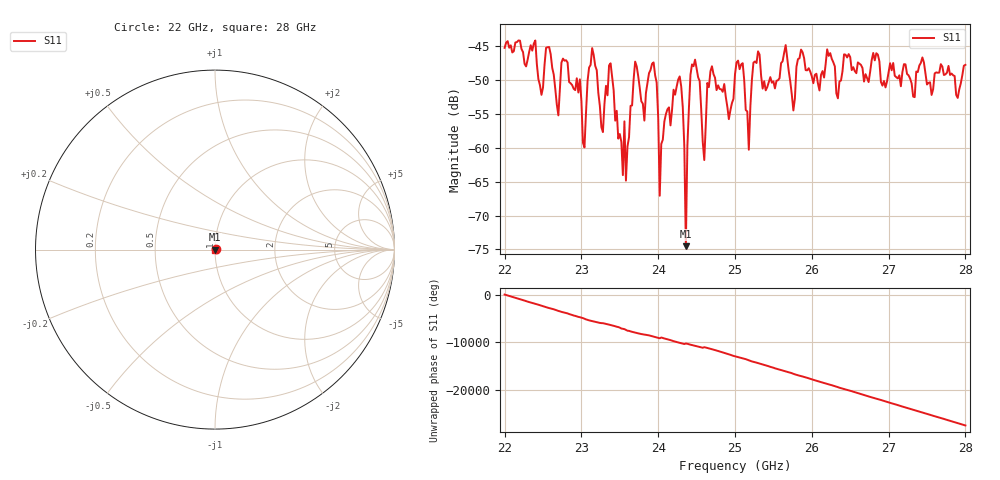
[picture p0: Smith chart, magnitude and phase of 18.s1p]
#  HZ  S  RI  R  50.00
! Rohde & Schwarz ZVA40 4Ports - Version 3.90 - 1145.1110k42 SN: 100403
! Date: 2023-10-04 05:59:35
! Measurement: S12
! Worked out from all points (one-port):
!   301 points, 22 GHz to 28 GHz, reference 50 ohm
!   lowest |S11| = -74.5 dB at 24.36 GHz (marker M1), VSWR 1.00, Z = 50 + j0.000287 ohm
!   |S11| at or under -10 dB: start of sweep to end of sweep
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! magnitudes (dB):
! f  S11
! 22 GHz  -45.3
! 22.58 GHz  -45.1
! 22.7 GHz  -55.2
! 22.76 GHz  -46.8
! 23.04 GHz  -60.0
! 23.14 GHz  -45.3
! 23.5 GHz  -58.0
! 23.58 GHz  -64.8
! 23.7 GHz  -47.3
! 23.82 GHz  -56.0
! 23.94 GHz  -47.4
! 24.02 GHz  -67.1
! 24.26 GHz  -49.9
! 24.32 GHz  -54.0
! 24.36 GHz  -74.5
! 24.38 GHz  -59.7
! 24.44 GHz  -47.7
! 24.6 GHz  -61.8
! 24.7 GHz  -48.0
! 25 GHz  -49.2
! 25.1 GHz  -47.5
! 25.18 GHz  -60.3
! 25.3 GHz  -45.8
! 25.76 GHz  -54.5
! 25.86 GHz  -45.5
! 26.5 GHz  -46.6
! 27.26 GHz  -49.3
! 28 GHz  -47.8
